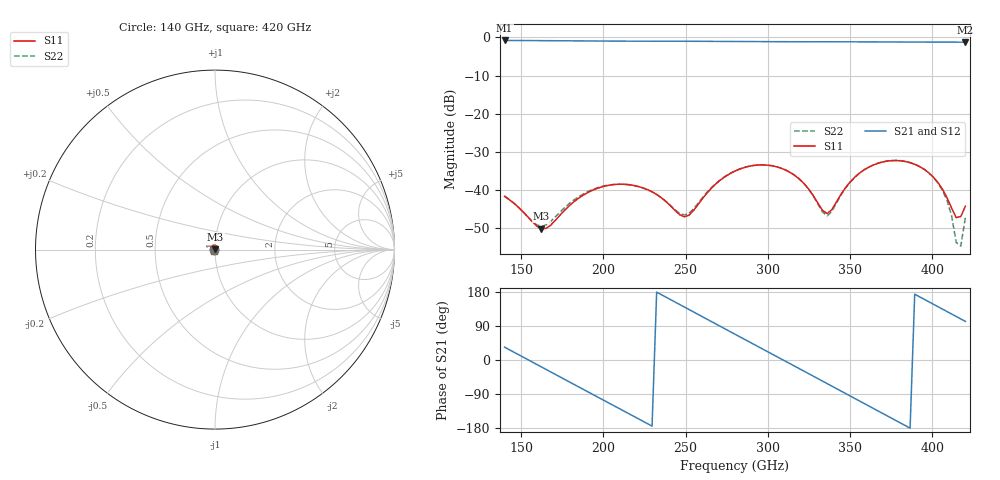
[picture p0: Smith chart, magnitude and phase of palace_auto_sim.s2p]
#  GHZ S DB R 50
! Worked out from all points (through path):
!   101 points, 140 GHz to 420 GHz, reference 50 ohm
!   highest |S21| = -0.78 dB at 140 GHz (marker M1); lowest = -1.2 dB at 420 GHz (marker M2)
!   group delay of S21, straight-line fit = 6.47 ps
!   lowest |S11| = -50.3 dB at 162.4 GHz (marker M3), VSWR 1.01, Z = 50.3 + j0.179 ohm
!   |S11| at or under -10 dB: start of sweep to end of sweep
!   |S22| runs from -54.8 to -32.3 dB; largest |S21 - S12| = 1.5e-13
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140  -41.77 175.3  -0.78 33.8  -0.78 33.8  -41.64 176.2
151.2  -45.79 122.0  -0.80 7.7  -0.80 7.7  -45.83 121.1
162.4  -50.27 35.5  -0.83 -18.4  -0.83 -18.4  -49.60 31.6
187.6  -41.46 -129.8  -0.90 -77.0  -0.90 -77.0  -41.16 -127.0
207.2  -38.61 157.3  -0.95 -122.5  -0.95 -122.5  -38.58 158.8
221.2  -39.14 111.0  -0.97 -154.9  -0.97 -154.9  -39.16 111.6
235.2  -42.09 61.0  -0.98 172.5  -0.98 172.5  -42.08 60.1
252  -46.70 -58.0  -1.00 133.3  -1.00 133.3  -46.20 -58.0
266  -39.45 -144.0  -1.02 100.7  -1.02 100.7  -39.30 -142.7
280  -35.09 167.7  -1.05 68.0  -1.05 68.0  -35.04 168.4
305.2  -33.96 92.8  -1.10 9.4  -1.10 9.4  -33.94 93.3
327.6  -41.56 11.6  -1.12 -42.7  -1.12 -42.7  -41.66 13.2
336  -46.27 -65.7  -1.13 -62.3  -1.13 -62.3  -46.87 -65.7
350  -37.93 -166.6  -1.14 -94.9  -1.14 -94.9  -38.00 -168.4
361.2  -34.08 157.0  -1.16 -121.1  -1.16 -121.1  -34.08 155.9
375.2  -32.36 118.1  -1.18 -153.7  -1.18 -153.7  -32.32 117.9
389.2  -33.32 79.9  -1.20 173.6  -1.20 173.6  -33.28 81.5
403.2  -38.03 36.2  -1.22 141.0  -1.22 141.0  -38.16 43.8
408.8  -42.05 10.0  -1.22 127.9  -1.22 127.9  -42.77 25.7
414.4  -47.32 -46.1  -1.23 114.9  -1.23 114.9  -53.83 -17.0
417.2  -47.05 -90.8  -1.23 108.3  -1.23 108.3  -54.82 -119.8
420  -44.32 -123.3  -1.23 101.8  -1.23 101.8  -47.25 -154.5
